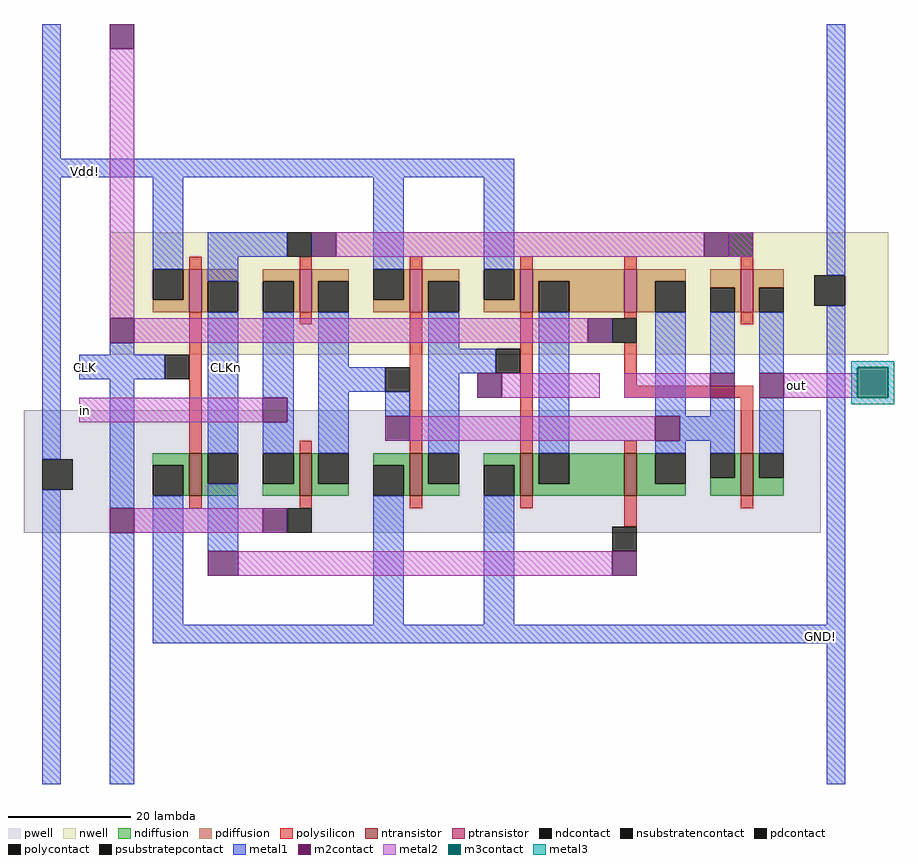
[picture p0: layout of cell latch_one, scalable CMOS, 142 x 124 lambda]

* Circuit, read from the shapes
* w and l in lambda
.subckt latch_one CLK CLKn GND! Vdd! in out
M1 CLKn CLK GND! Vdd! nfet w=7 l=2
M2 n1 CLK in Vdd! nfet w=7 l=2
M3 n2 n1 GND! Vdd! nfet w=7 l=2
M4 n3 n2 GND! Vdd! nfet w=7 l=2
M5 n1 CLKn n3 Vdd! nfet w=7 l=2
M6 out CLK n1 Vdd! nfet w=7 l=2
M7 CLKn CLK Vdd! GND! pfet w=7 l=2
M8 n1 CLKn in GND! pfet w=7 l=2
M9 n2 n1 Vdd! GND! pfet w=7 l=2
M10 n3 n2 Vdd! GND! pfet w=7 l=2
M11 n1 CLK n3 GND! pfet w=7 l=2
M12 out CLKn n1 GND! pfet w=7 l=2
.ends

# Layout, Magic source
magic
tech scmos
<< nwell >>
rect -35 1319 92 1339
<< pwell >>
rect -49 1290 81 1310
<< ntransistor >>
rect -22 1296 -20 1303
rect -4 1296 -2 1303
rect 14 1296 16 1303
rect 32 1296 34 1303
rect 49 1296 51 1303
rect 68 1296 70 1303
<< ptransistor >>
rect -22 1326 -20 1333
rect -4 1326 -2 1333
rect 14 1326 16 1333
rect 32 1326 34 1333
rect 49 1326 51 1333
rect 68 1326 70 1333
<< ndiffusion >>
rect -28 1301 -22 1303
rect -23 1296 -22 1301
rect -20 1298 -19 1303
rect -20 1296 -14 1298
rect -5 1298 -4 1303
rect -10 1296 -4 1298
rect -2 1298 -1 1303
rect -2 1296 4 1298
rect 8 1301 14 1303
rect 13 1296 14 1301
rect 16 1298 17 1303
rect 16 1296 22 1298
rect 26 1301 32 1303
rect 31 1296 32 1301
rect 34 1298 35 1303
rect 40 1298 49 1303
rect 34 1296 49 1298
rect 51 1298 54 1303
rect 51 1296 59 1298
rect 67 1299 68 1303
rect 63 1296 68 1299
rect 70 1299 71 1303
rect 70 1296 75 1299
<< pdiffusion >>
rect -23 1328 -22 1333
rect -28 1326 -22 1328
rect -20 1331 -14 1333
rect -20 1326 -19 1331
rect -10 1331 -4 1333
rect -5 1326 -4 1331
rect -2 1331 4 1333
rect -2 1326 -1 1331
rect 13 1328 14 1333
rect 8 1326 14 1328
rect 16 1331 22 1333
rect 16 1326 17 1331
rect 31 1328 32 1333
rect 26 1326 32 1328
rect 34 1331 49 1333
rect 34 1326 35 1331
rect 40 1326 49 1331
rect 51 1331 59 1333
rect 51 1326 54 1331
rect 63 1330 68 1333
rect 67 1326 68 1330
rect 70 1330 75 1333
rect 70 1326 71 1330
<< ndcontact >>
rect -28 1296 -23 1301
rect -19 1298 -14 1303
rect -10 1298 -5 1303
rect -1 1298 4 1303
rect 8 1296 13 1301
rect 17 1298 22 1303
rect 26 1296 31 1301
rect 35 1298 40 1303
rect 54 1298 59 1303
rect 63 1299 67 1303
rect 71 1299 75 1303
<< pdcontact >>
rect -28 1328 -23 1333
rect -19 1326 -14 1331
rect -10 1326 -5 1331
rect -1 1326 4 1331
rect 8 1328 13 1333
rect 17 1326 22 1331
rect 26 1328 31 1333
rect 35 1326 40 1331
rect 54 1326 59 1331
rect 63 1326 67 1330
rect 71 1326 75 1330
<< psubstratepcontact >>
rect -46 1297 -41 1302
<< nsubstratencontact >>
rect 80 1327 85 1332
<< polysilicon >>
rect -22 1333 -20 1335
rect -4 1333 -2 1335
rect 14 1333 16 1335
rect 32 1333 34 1335
rect 49 1333 51 1335
rect 68 1333 70 1335
rect -22 1303 -20 1326
rect -4 1324 -2 1326
rect -4 1303 -2 1305
rect 14 1303 16 1326
rect 32 1303 34 1326
rect 49 1325 51 1326
rect 68 1324 70 1326
rect 49 1314 51 1321
rect 49 1312 70 1314
rect 49 1303 51 1305
rect 68 1303 70 1312
rect -22 1294 -20 1296
rect -4 1294 -2 1296
rect 14 1294 16 1296
rect 32 1294 34 1296
rect 49 1291 51 1296
rect 68 1294 70 1296
<< polycontact >>
rect -6 1335 -2 1339
rect 66 1335 70 1339
rect -26 1315 -22 1319
rect 10 1313 14 1317
rect 28 1316 32 1320
rect 47 1321 51 1325
rect -6 1290 -2 1294
rect 47 1287 51 1291
<< metal1 >>
rect -46 1351 -43 1373
rect -46 1348 31 1351
rect -46 1302 -43 1348
rect -28 1333 -23 1348
rect -19 1335 -6 1339
rect -19 1331 -14 1335
rect 8 1333 13 1348
rect -35 1319 -31 1321
rect -40 1315 -26 1319
rect -46 1249 -43 1297
rect -35 1294 -31 1315
rect -19 1303 -14 1326
rect -35 1249 -31 1290
rect -28 1275 -23 1296
rect -10 1312 -5 1326
rect -6 1308 -5 1312
rect -10 1303 -5 1308
rect 26 1333 31 1348
rect -1 1317 4 1326
rect 82 1332 85 1373
rect 17 1320 22 1326
rect -1 1313 10 1317
rect -1 1303 4 1313
rect 10 1309 14 1313
rect 17 1316 28 1320
rect 17 1303 22 1316
rect -19 1287 -14 1298
rect 35 1303 40 1326
rect 8 1275 13 1296
rect 54 1309 59 1326
rect 63 1316 67 1326
rect 63 1309 67 1312
rect 58 1305 67 1309
rect 54 1303 59 1305
rect 63 1303 67 1305
rect 71 1316 75 1326
rect 71 1303 75 1312
rect 26 1275 31 1296
rect 82 1275 85 1327
rect -28 1272 85 1275
rect 82 1249 85 1272
<< m2contact >>
rect -35 1369 -31 1373
rect -2 1335 2 1339
rect -35 1321 -31 1325
rect -35 1290 -31 1294
rect -10 1308 -6 1312
rect 62 1335 66 1339
rect 10 1305 14 1309
rect 25 1312 29 1316
rect 43 1321 47 1325
rect -10 1290 -6 1294
rect -19 1283 -14 1287
rect 63 1312 67 1316
rect 54 1305 58 1309
rect 71 1312 75 1316
rect 47 1283 51 1287
<< metal2 >>
rect -35 1325 -31 1369
rect 2 1335 62 1339
rect 66 1335 70 1339
rect -31 1321 43 1325
rect 29 1312 45 1316
rect 49 1312 63 1316
rect 75 1312 87 1316
rect -40 1308 -10 1312
rect 14 1305 54 1309
rect -31 1290 -10 1294
rect -14 1283 47 1287
<< m3contact >>
rect 87 1312 92 1317
<< metal3 >>
rect 86 1317 93 1318
rect 86 1312 87 1317
rect 92 1312 93 1317
rect 86 1311 93 1312
<< labels >>
rlabel metal1 -39 1349 -39 1349 5 Vdd!
rlabel metal2 -39 1310 -39 1310 1 in
rlabel metal1 -39 1317 -39 1317 1 CLK
rlabel metal1 -16 1317 -16 1317 1 CLKn
rlabel metal1 81 1273 81 1273 8 GND!
rlabel metal2 77 1314 77 1314 1 out
<< end >>
